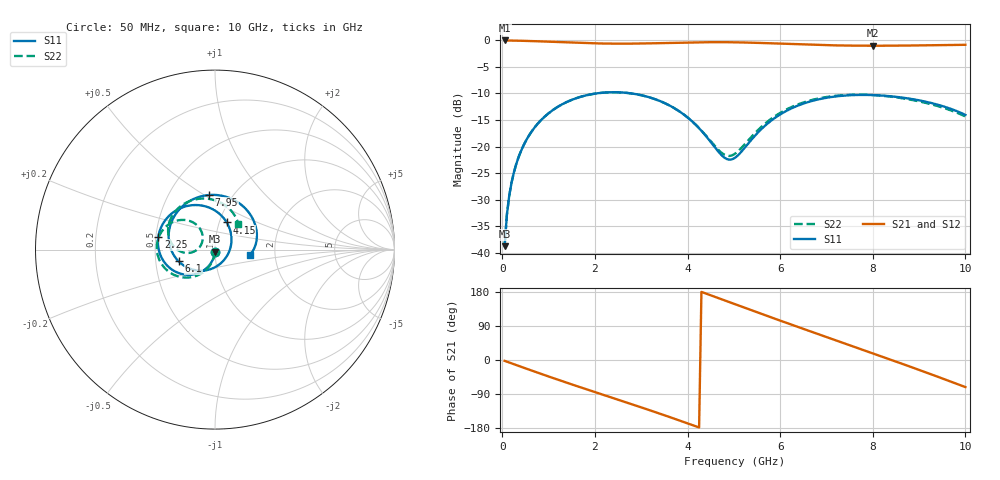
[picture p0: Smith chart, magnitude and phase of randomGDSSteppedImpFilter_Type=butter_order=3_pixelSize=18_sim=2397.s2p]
! freq	dB(S11)	phase(S11)	dB(S12)	phase(S12)
!  dB(S21)	phase(S21)	dB(S22)	phase(S22)
!S-par simulation data
#  GHz  S  DB  R 50
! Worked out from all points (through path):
!   200 points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, 50 MHz to 10 GHz, reference 50 ohm
!   highest |S21| = 0.00 dB at 50 MHz (marker M1); lowest = -1.0 dB at 8 GHz (marker M2)
!   group delay of S21, straight-line fit = 120 ps
!   lowest |S11| = -38.8 dB at 50 MHz (marker M3), VSWR 1.02, Z = 49.9 - j1.15 ohm
!   |S11| at or under -10 dB: start of sweep to 2.022 GHz; 2.798 GHz to end of sweep
!   |S22| runs from -38.8 to -9.8 dB; largest |S21 - S12| = 0
!   S11 on the Smith chart (normalised r, x): 50 MHz: 1.00, -0.02; 2.25 GHz: 0.52, +0.08; 4.15 GHz: 1.09, +0.34; 6.1 GHz: 0.66, -0.09; 7.95 GHz: 0.78, +0.53; 10 GHz: 1.49, -0.09
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0.05  -38.78 -92.3  -0.00 -2.2  -0.00 -2.2  -38.78 -92.0
0.1  -32.77 -94.8  -0.01 -4.5  -0.01 -4.5  -32.77 -94.3
0.2  -26.80 -99.7  -0.02 -8.9  -0.02 -8.9  -26.79 -98.7
0.35  -22.04 -106.9  -0.05 -15.5  -0.05 -15.5  -22.04 -105.2
0.5  -19.08 -114.0  -0.08 -22.0  -0.08 -22.0  -19.08 -111.4
1  -13.73 -136.9  -0.24 -43.5  -0.24 -43.5  -13.72 -131.5
1.75  -10.48 -170.4  -0.49 -74.6  -0.49 -74.6  -10.49 -160.2
2.25  -9.80 167.4  -0.59 -94.7  -0.59 -94.7  -9.81 -178.3
2.8  -10.00 142.3  -0.60 -116.8  -0.60 -116.8  -10.01 162.7
3.4  -11.40 112.7  -0.51 -141.5  -0.51 -141.5  -11.42 143.2
4.15  -15.67 66.5  -0.36 -173.7  -0.36 -173.7  -15.65 126.2
4.75  -21.75 -2.5  -0.33 159.7  -0.33 159.7  -21.28 143.5
5.05  -21.96 -59.9  -0.36 146.2  -0.36 146.2  -21.20 171.4
5.6  -16.66 -127.0  -0.48 121.6  -0.48 121.6  -16.24 -172.9
6.1  -13.44 -162.1  -0.64 99.6  -0.64 99.6  -13.17 178.2
6.7  -11.38 163.2  -0.82 73.6  -0.82 73.6  -11.19 161.0
7.35  -10.42 128.1  -0.95 45.7  -0.95 45.7  -10.32 140.2
7.95  -10.29 96.1  -1.00 19.9  -1.00 19.9  -10.27 120.5
8  -10.30 93.4  -1.00 17.7  -1.00 17.7  -10.30 118.8
8.35  -10.49 74.7  -0.99 2.5  -0.99 2.5  -10.56 107.1
9.15  -11.56 32.6  -0.92 -32.8  -0.92 -32.8  -11.79 79.6
10  -14.04 -8.0  -0.82 -71.5  -0.82 -71.5  -14.34 47.1
